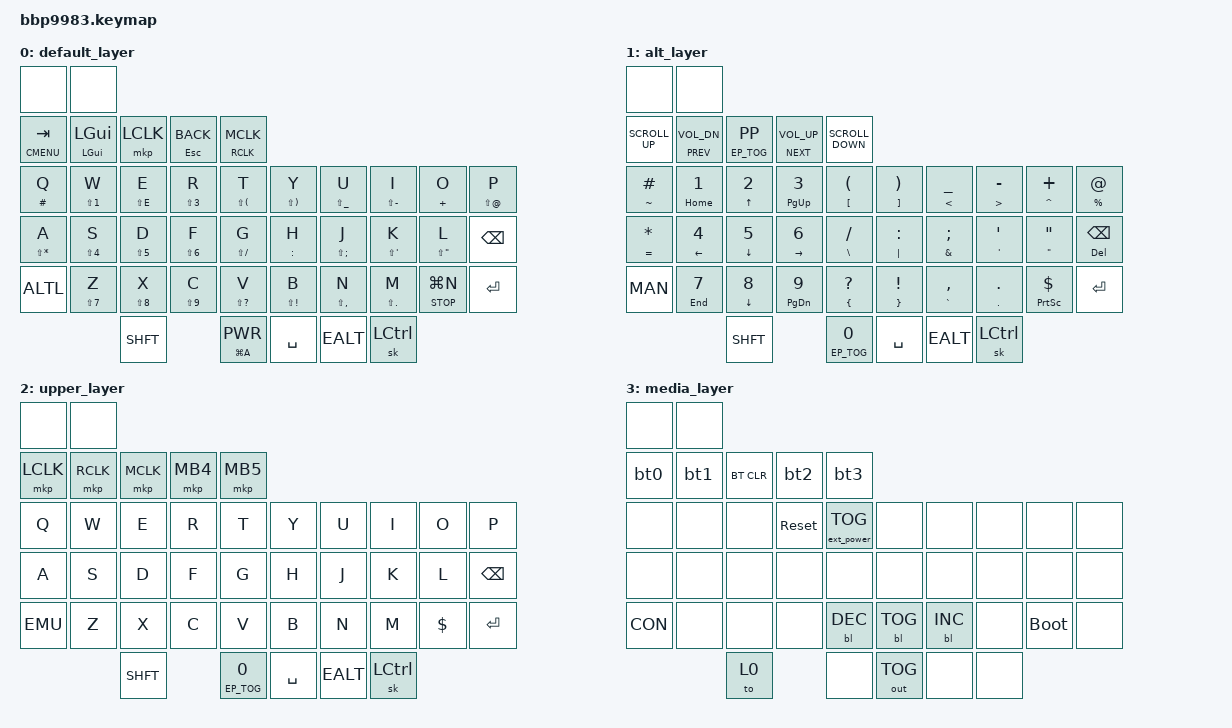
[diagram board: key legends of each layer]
/*
 * Copyright (c) 2023 ZitaoTech
 * "BlueBerry" Android Layout by Drexel Macintosh    
 * SPDX-License-Identifier: MIT
 */

#include <behaviors.dtsi>
#include <dt-bindings/zmk/backlight.h>
#include <dt-bindings/zmk/bt.h>
#include <dt-bindings/zmk/ext_power.h>
#include <dt-bindings/zmk/keys.h>
#include <dt-bindings/zmk/mouse.h>
#include <dt-bindings/zmk/outputs.h>

#define ALT 1
#define UPPER 2
#define MEDIA 3

// Standard Behavior Configurations:

&mt {
    flavor = "tap-preferred";
    tapping-term-ms = <200>;
};

&sk { release-after-ms = <2500>; };

&sl { release-after-ms = <2500>; };

/ {
    //Behaviors Start Here:

    behaviors {
        // Tap Dance Behaviors

        td0: tap_dance_0 {
            compatible = "zmk,behavior-tap-dance";
            #binding-cells = <0>;
            tapping-term-ms = <300>;
            bindings = <&mkp LCLK>, <&bt BT_CLR>;
        };

        ALTL: tap_dance_1 {
            compatible = "zmk,behavior-tap-dance";
            #binding-cells = <0>;
            tapping-term-ms = <300>;
            bindings = <&sl ALT>, <&to ALT>;
        };

        SHFT: tap_dance_2 {
            compatible = "zmk,behavior-tap-dance";
            #binding-cells = <0>;
            tapping-term-ms = <300>;
            bindings = <&sk LSHFT>, <&kp CLCK>;
        };

        MED: tap_dance_3 {
            compatible = "zmk,behavior-tap-dance";
            #binding-cells = <0>;
            tapping-term-ms = <250>;
            bindings = <&to 0>, <&to MEDIA>;
        };

        MAN: tap_dance_4 {
            compatible = "zmk,behavior-tap-dance";
            #binding-cells = <0>;
            tapping-term-ms = <250>;
            bindings = <&to 0>, <&to UPPER>;
        };

        EALT: tap_dance_5 {
            compatible = "zmk,behavior-tap-dance";
            #binding-cells = <0>;
            tapping-term-ms = <300>;
            bindings = <&sk RALT>, <&kp RALT>;
        };

        ECTRL: tap_dance_6 {
            compatible = "zmk,behavior-tap-dance";
            #binding-cells = <0>;
            tapping-term-ms = <300>;
            bindings = <&sk LCTRL>, <&kp LC(SPACE)>;
        };

        EMU: tap_dance_7 {
            compatible = "zmk,behavior-tap-dance";
            #binding-cells = <0>;
            tapping-term-ms = <250>;
            bindings = <&to 0>, <&to MEDIA>;
        };

        CON: tap_dance_8 {
            compatible = "zmk,behavior-tap-dance";
            #binding-cells = <0>;
            tapping-term-ms = <250>;
            bindings = <&to 0>, <&to 0>;
        };

        // Macro Behaviors

        tap: tap {
            compatible = "zmk,behavior-macro-one-param";
            #binding-cells = <1>;
            bindings = <&macro_param_1to1 &kp MACRO_PLACEHOLDER>;
        };

        glo: globe_pseudo_mod {
            compatible = "zmk,behavior-macro-one-param";
            #binding-cells = <1>;
            bindings =
                <&macro_press>,
                <&kp GLOBE &macro_param_1to1>,
                <&macro_tap>,
                <&kp MACRO_PLACEHOLDER>,
                <&macro_release>,
                <&kp GLOBE>;
        };

        bt0: bt0 {
            compatible = "zmk,behavior-macro";
            #binding-cells = <0>;
            bindings = <&bt BT_SEL 0 &bt BT_DISC 1 &bt BT_DISC 2 &bt BT_DISC 3 &bt BT_DISC 4>;
            label = "BT0";
        };

        bt1: bt1 {
            compatible = "zmk,behavior-macro";
            #binding-cells = <0>;
            bindings = <&bt BT_SEL 1 &bt BT_DISC 0 &bt BT_DISC 2 &bt BT_DISC 3 &bt BT_DISC 4>;
            label = "BT1";
        };

        bt2: bt2 {
            compatible = "zmk,behavior-macro";
            #binding-cells = <0>;
            bindings = <&bt BT_SEL 2 &bt BT_DISC 0 &bt BT_DISC 1 &bt BT_DISC 3 &bt BT_DISC 4>;
            label = "BT2";
        };

        bt3: bt3 {
            compatible = "zmk,behavior-macro";
            #binding-cells = <0>;
            bindings = <&bt BT_SEL 3 &bt BT_DISC 0 &bt BT_DISC 1 &bt BT_DISC 2 &bt BT_DISC 4>;
            label = "BT3";
        };

        // Hold Tap Behaviors

        KPM: behavior_KPM {
            compatible = "zmk,behavior-hold-tap";
            label = "KPM";
            #binding-cells = <2>;
            flavor = "tap-preferred";
            tapping-term-ms = <400>;
            bindings = <&msc>, <&kp>;
        };

        hm: homerow_mods {
            compatible = "zmk,behavior-hold-tap";
            #binding-cells = <2>;
            tapping-term-ms = <500>;
            bindings = <&out &kp>;
        };

        hm2: homerow_mods_2 {
            compatible = "zmk,behavior-hold-tap";
            #binding-cells = <2>;
            tapping-term-ms = <500>;
            bindings = <&ext_power &kp>;
        };

        mtt: mod_tap_tap {
            compatible = "zmk,behavior-hold-tap";
            #binding-cells = <2>;
            flavor = "tap-preferred";
            tapping-term-ms = <200>;
            quick-tap-ms = <125>;
            require-prior-idle-ms = <125>;
            bindings = <&tap>, <&tap>;
        };

        msk: mod_Stick_Pre {
            compatible = "zmk,behavior-hold-tap";
            #binding-cells = <2>;
            flavor = "tap-preferred";
            tapping-term-ms = <200>;
            quick-tap-ms = <125>;
            require-prior-idle-ms = <125>;
            bindings = <&sk>, <&kp>;
        };

        alt_to: behavior_alt_to {
            compatible = "zmk,behavior-hold-tap";
            label = "alt_to";
            #binding-cells = <2>;
            flavor = "tap-preferred";
            tapping-term-ms = <300>;
            bindings = <&kp>, <&to>;
        };

        glb: mod_tap_glo {
            compatible = "zmk,behavior-hold-tap";
            #binding-cells = <2>;
            flavor = "tap-preferred";
            tapping-term-ms = <200>;
            quick-tap-ms = <125>;
            require-prior-idle-ms = <125>;
            bindings = <&kp>, <&glo>;
        };

        mou: mod_mouse {
            compatible = "zmk,behavior-hold-tap";
            #binding-cells = <2>;
            flavor = "tap-preferred";
            tapping-term-ms = <200>;
            quick-tap-ms = <125>;
            require-prior-idle-ms = <125>;
            bindings = <&mkp >, <&mkp >;
        };

        //End Behvaiors here
    };

    macros {
    };

    keymap {
        compatible = "zmk,keymap";

        default_layer {
            bindings = <
&none                &none
&mtt K_CMENU TAB     &msk LGUI LGUI       &mkp LCLK      &mtt ESC K_BACK      &mou RCLK MCLK
&mtt HASH Q          &mtt LS(NUMBER_1) W  &mtt LS(E) E   &mtt LS(NUMBER_3) R  &mtt LS(LEFT_PARENTHESIS) T  &mtt LS(RIGHT_PARENTHESIS) Y    &mtt LS(UNDERSCORE) U  &mtt LS(MINUS) I       &mtt PLUS O               &mtt LS(AT_SIGN) P
&mtt LS(ASTERISK) A  &mtt LS(NUMBER_4) S  &mtt LS(N5) D  &mtt LS(NUMBER_6) F  &mtt LS(SLASH) G             &mtt COLON H                    &mtt LS(SEMICOLON) J   &mtt LS(APOSTROPHE) K  &mtt LS(DOUBLE_QUOTES) L  &kp BSPC
&ALTL                &mtt LS(N7) Z        &mtt LS(N8) X  &mtt LS(N9) C        &mtt LS(QUESTION) V          &mtt LS(EXCLAMATION) B          &mtt LS(COMMA) N       &mtt LS(PERIOD) M      &mtt K_STOP LG(N)         &kp ENTER
                                          &SHFT                               &mtt LG(A) K_PWR             &kp SPACE                       &EALT                  &sk LCTRL
            >;
        };

        alt_layer {
            bindings = <
&none            &none
&kp K_SCROLL_UP  &mtt K_PREV K_VOL_DN  &hm2 EP_TOG K_PP  &mtt K_NEXT K_VOL_UP  &kp K_SCROLL_DOWN
&mtt TILDE HASH  &mtt HOME N1          &mtt UP N2        &mtt PG_UP N3         &mtt LBKT LPAR     &mtt RBKT RPAR     &mtt LT UNDER     &mtt GT MINUS   &mtt CARET PLUS  &mtt PERCENT AT
&mtt EQUAL STAR  &mtt LEFT N4          &mtt DOWN N5      &mtt RIGHT N6         &mtt BSLH SLASH    &mtt PIPE COLON    &mtt AMPS SEMI    &mtt APOS APOS  &mtt DQT DQT     &mtt DEL BSPC
&MAN             &mtt END N7           &mtt DOWN N8      &mtt PG_DN N9         &mtt LBRC QMARK    &mtt RBRC EXCL     &mtt GRAVE COMMA  &mtt DOT DOT    &mtt PSCRN DLLR  &kp ENTER
                                       &SHFT                                   &hm2 EP_TOG N0     &kp SPACE          &EALT             &sk LCTRL
            >;
        };

        upper_layer {
            bindings = <
&none      &none
&mkp LCLK  &mkp RCLK  &mkp MCLK  &mkp MB4  &mkp MB5
&kp Q      &kp W      &kp E      &kp R     &kp T           &kp Y        &kp U  &kp I      &kp O     &kp P
&kp A      &kp S      &kp D      &kp F     &kp G           &kp H        &kp J  &kp K      &kp L     &kp BSPC
&EMU       &kp Z      &kp X      &kp C     &kp V           &kp B        &kp N  &kp M      &kp DLLR  &kp ENTER
                      &SHFT                &hm2 EP_TOG N0  &kp SPACE    &EALT  &sk LCTRL
            >;
        };

        media_layer {
            bindings = <
&none  &none
&bt0   &bt1   &bt BT_CLR  &bt2        &bt3
&none  &none  &none       &sys_reset  &ext_power EP_TOG  &none           &none       &none  &none        &none
&none  &none  &none       &none       &none              &none           &none       &none  &none        &none
&CON   &none  &none       &none       &bl BL_DEC         &bl BL_TOG      &bl BL_INC  &none  &bootloader  &none
              &to 0                   &none              &out OUT_TOG    &none       &none
            >;
        };
    };
};
